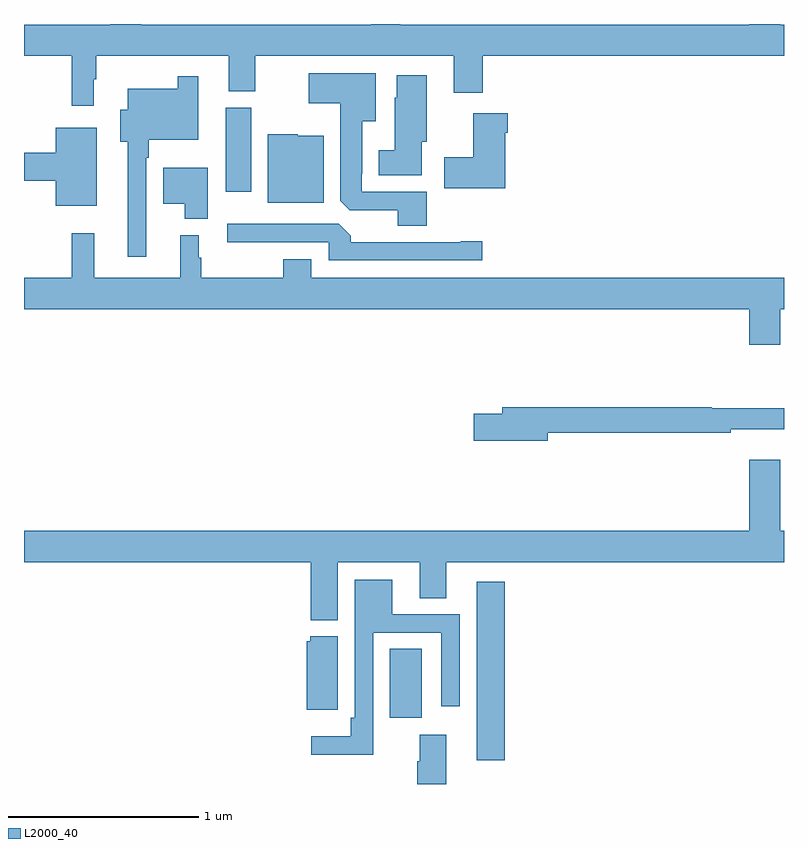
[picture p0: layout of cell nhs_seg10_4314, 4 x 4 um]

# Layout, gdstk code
import gdstk
lib = gdstk.Library(unit=1e-6, precision=1e-09)
def R(c, l, rs):  # rectangles x0, y0, x1, y1
    for r in rs: c.add(gdstk.rectangle(r[:2], r[2:], *l))
def P(c, l, *ps):  # polygons
    for p in ps: c.add(gdstk.Polygon(p, *l))
L2000_40 = (2000, 40)

nhs_seg10_4314 = lib.new_cell('nhs_seg10_4314')
R(nhs_seg10_4314, L2000_40, [(355.382,1280.625,355.529,1281.565), (354.926,1280.85,355.093,1281.212), (354.062,1283.616,354.196,1284.06)])
P(nhs_seg10_4314, L2000_40, [(353.368,1284.209),(353.38,1284.209),(353.38,1284.332),(354.077,1284.332),(354.077,1284.145),(354.217,1284.145),(354.217,1284.332),(355.262,1284.332),(355.262,1284.138),(355.415,1284.138),(355.415,1284.332),(357,1284.332),(357,1284.496),(356.98,1284.496),(356.98,1284.5),(356.816,1284.5),(356.816,1284.496),(354.98,1284.496),(354.98,1284.5),(354.828,1284.5),(354.828,1284.496),(353.618,1284.496),(353.618,1284.5),(353.453,1284.5),(353.453,1284.496),(353,1284.496),(353,1284.332),(353.251,1284.332),(353.251,1284.069),(353.368,1284.069)],
  [(355.121,1283.616),(354.777,1283.616),(354.777,1283.713),(354.781,1283.713),(354.781,1283.987),(354.85,1283.987),(354.85,1284.241),(354.498,1284.241),(354.498,1284.083),(354.665,1284.083),(354.665,1283.569),(354.714,1283.52),(354.968,1283.52),(354.968,1283.437),(355.121,1283.437)],
  [(355.093,1283.88),(355.12,1283.88),(355.12,1284.229),(354.962,1284.229),(354.962,1284.111),(354.95,1284.111),(354.95,1283.836),(354.866,1283.836),(354.866,1283.705),(355.093,1283.705)],
  [(353.643,1283.795),(353.656,1283.795),(353.656,1283.891),(353.916,1283.891),(353.916,1284.226),(353.808,1284.226),(353.808,1284.16),(353.546,1284.16),(353.546,1284.049),(353.507,1284.049),(353.507,1283.879),(353.546,1283.879),(353.546,1283.274),(353.643,1283.274)],
  [(355.534,1283.927),(355.547,1283.927),(355.547,1284.031),(355.364,1284.031),(355.364,1283.799),(355.212,1283.799),(355.212,1283.636),(355.534,1283.636)],
  [(353.383,1283.953),(353.168,1283.953),(353.168,1283.822),(353,1283.822),(353,1283.675),(353.168,1283.675),(353.168,1283.543),(353.383,1283.543)],
  [(354.577,1283.911),(354.441,1283.911),(354.441,1283.92),(354.284,1283.92),(354.284,1283.558),(354.577,1283.558)],
  [(353.968,1283.743),(353.732,1283.743),(353.732,1283.555),(353.846,1283.555),(353.846,1283.474),(353.968,1283.474)],
  [(355.411,1283.357),(355.298,1283.357),(355.298,1283.352),(354.719,1283.352),(354.719,1283.386),(354.657,1283.448),(354.069,1283.448),(354.069,1283.352),(354.603,1283.352),(354.603,1283.256),(355.411,1283.256)],
  [(356.98,1283),(357,1283),(357,1283.164),(354.511,1283.164),(354.511,1283.263),(354.364,1283.263),(354.364,1283.164),(353.932,1283.164),(353.932,1283.271),(353.92,1283.271),(353.92,1283.389),(353.822,1283.389),(353.822,1283.164),(353.369,1283.164),(353.369,1283.398),(353.251,1283.398),(353.251,1283.164),(353,1283.164),(353,1283),(356.816,1283),(356.816,1282.812),(356.98,1282.812)],
  [(355.756,1282.348),(356.72,1282.348),(356.72,1282.367),(357,1282.367),(357,1282.477),(356.621,1282.477),(356.621,1282.484),(355.517,1282.484),(355.517,1282.448),(355.368,1282.448),(355.368,1282.306),(355.756,1282.306)],
  [(354.652,1281.668),(355.082,1281.668),(355.082,1281.478),(355.222,1281.478),(355.222,1281.668),(357,1281.668),(357,1281.832),(356.98,1281.832),(356.98,1282.207),(356.816,1282.207),(356.816,1281.832),(353,1281.832),(353,1281.668),(354.509,1281.668),(354.509,1281.362),(354.652,1281.362)],
  [(354.837,1281.297),(355.197,1281.297),(355.197,1280.91),(355.293,1280.91),(355.293,1281.393),(354.937,1281.393),(354.937,1281.574),(354.741,1281.574),(354.741,1280.848),(354.721,1280.848),(354.721,1280.752),(354.513,1280.752),(354.513,1280.654),(354.837,1280.654)],
  [(354.652,1281.277),(354.507,1281.277),(354.507,1281.252),(354.488,1281.252),(354.488,1280.891),(354.652,1280.891)],
  [(355.222,1280.758),(355.082,1280.758),(355.082,1280.621),(355.07,1280.621),(355.07,1280.5),(355.222,1280.5)])

lib.write_gds('nhs_seg10_4314.gds')
